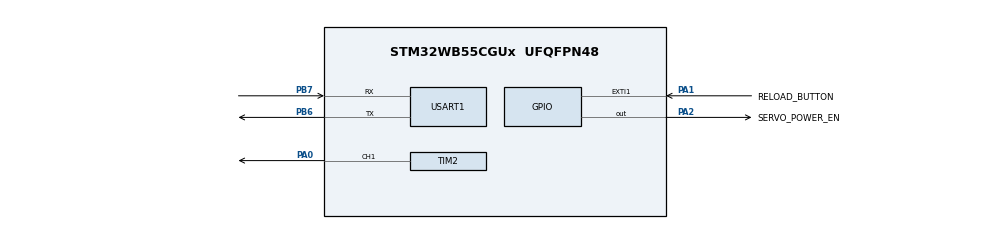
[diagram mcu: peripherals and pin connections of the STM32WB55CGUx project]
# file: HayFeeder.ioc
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Mcu.Family=STM32WB
Mcu.Name=STM32WB55CGUx
Mcu.Package=UFQFPN48
NVIC.EXTI1_IRQn=true\:1\:0\:false\:false\:true\:true\:true\:true
NVIC.PriorityGroup=NVIC_PRIORITYGROUP_4
NVIC.RTC_Alarm_IRQn=true\:0\:0\:false\:false\:true\:true\:true\:true
PA0.GPIO_PuPd=GPIO_NOPULL
PA0.Signal=S_TIM2_CH1
PA1.GPIO_Label=RELOAD_BUTTON
PA1.GPIO_ModeDefaultEXTI=GPIO_MODE_IT_RISING_FALLING
PA1.GPIO_PuPd=GPIO_PULLUP
PA1.Signal=GPXTI1
PA13.Mode=Serial_Wire
PA13.Signal=SYS_JTMS-SWDIO
PA14.Mode=Serial_Wire
PA14.Signal=SYS_JTCK-SWCLK
PA2.GPIO_Label=SERVO_POWER_EN
PA2.GPIO_PuPd=GPIO_NOPULL
PA2.Signal=GPIO_Output
PB6.Mode=Asynchronous
PB6.Signal=USART1_TX
PB7.Mode=Asynchronous
PB7.Signal=USART1_RX
PC14-OSC32_IN.Mode=LSE-External-Oscillator
PC14-OSC32_IN.Signal=RCC_OSC32_IN
PC15-OSC32_OUT.Mode=LSE-External-Oscillator
PC15-OSC32_OUT.Signal=RCC_OSC32_OUT
ProjectManager.HeapSize=0x200
ProjectManager.StackSize=0x400
ProjectManager.TargetToolchain=STM32CubeIDE
RCC.ADCFreq_Value=32000000
RCC.AHB2CLKDivider=RCC_SYSCLK_DIV4
RCC.AHBFreq_Value=16000000
RCC.APB1Freq_Value=16000000
RCC.APB1TimFreq_Value=16000000
RCC.APB2Freq_Value=16000000
RCC.APB2TimFreq_Value=16000000
RCC.APB3Freq_Value=16000000
RCC.Cortex2_Div=SYSTICK_CLKSOURCE_HCLK_DIV8
RCC.CortexFreq_Value=16000000
RCC.HCLKFreq_Value=16000000
RCC.HSE_VALUE=32000000
RCC.HSI48_VALUE=48000000
RCC.HSI_VALUE=16000000
RCC.LSE_Drive_Capability=RCC_LSEDRIVE_LOW
RCC.PLLM=RCC_PLLM_DIV2
RCC.PLLSourceVirtual=RCC_PLLSOURCE_HSI
RCC.RTCClockSelection=RCC_RTCCLKSOURCE_LSE
RCC.SYSCLKFreq_VALUE=16000000
RCC.SYSCLKSource=RCC_SYSCLKSOURCE_HSI
RCC.USBFreq_Value=32000000
RCC.VCOOutputFreq_Value=64000000
RTC.Alarm=RTC_ALARM_A
RTC.Alarm-Alarm\ A=RTC_ALARM_A
RTC.AlarmDateWeekDay=RTC_WEEKDAY_MONDAY
RTC.AlarmDateWeekDay-Alarm\ A=RTC_WEEKDAY_MONDAY
RTC.AlarmDateWeekDaySel=RTC_ALARMDATEWEEKDAYSEL_WEEKDAY
RTC.AlarmDateWeekDaySel-Alarm\ A=RTC_ALARMDATEWEEKDAYSEL_WEEKDAY
RTC.AlarmSubSecondMask=RTC_ALARMSUBSECONDMASK_ALL
RTC.AlarmSubSecondMask-Alarm\ A=RTC_ALARMSUBSECONDMASK_ALL
RTC.AsynchPrediv=127
RTC.Date=1
RTC.DayLightSaving=RTC_DAYLIGHTSAVING_NONE
RTC.Format=RTC_FORMAT_BIN
RTC.HourFormat=RTC_HOURFORMAT_24
RTC.Hours=12
RTC.Hours_A=14
RTC.Hours_A-Alarm\ A=14
RTC.Minutes=0
RTC.Minutes_A=0
RTC.Minutes_A-Alarm\ A=0
RTC.Month=RTC_MONTH_JANUARY
RTC.Seconds=0
RTC.Seconds_A=0
RTC.Seconds_A-Alarm\ A=0
RTC.StoreOperation=RTC_STOREOPERATION_RESET
RTC.SubSeconds_A=0
RTC.SubSeconds_A-Alarm\ A=0
RTC.SynchPrediv=255
RTC.WeekDay=RTC_WEEKDAY_MONDAY
RTC.Year=26
SH.S_TIM2_CH1.0=TIM2_CH1,PWM Generation1 CH1
TIM2.Channel-PWM\ Generation1\ CH1=TIM_CHANNEL_1
TIM2.Period=20000-1
TIM2.Prescaler=16-1
USART1.VirtualMode-Asynchronous=VM_ASYNC
VP_MEMORYMAP_VS_MEMORYMAP.Mode=CurAppReg
VP_RTC_VS_RTC_Activate.Mode=RTC_Enabled
VP_RTC_VS_RTC_Alarm_A_Intern.Mode=Alarm A
VP_RTC_VS_RTC_Calendar.Mode=RTC_Calendar
VP_TIM2_VS_ClockSourceINT.Mode=Internal
board=custom

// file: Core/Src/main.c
/* USER CODE BEGIN Header */
/**
  ******************************************************************************
  * @file           : main.c
  * @brief          : Hay feeder hatch controller
  ******************************************************************************
  */
/* USER CODE END Header */
#include "main.h"

/* USER CODE BEGIN Includes */
#include "app_entry.h"
#include "feeder_app.h"
#include <stdio.h>

/* USER CODE END Includes */

/* USER CODE BEGIN PD */
#define RTC_CLOCK_BACKUP_MARKER 0x434C4B31U
#define RTC_CLOCK_BACKUP_DR     RTC_BKP_DR3

/* USER CODE END PD */

RTC_HandleTypeDef hrtc;

IPCC_HandleTypeDef hipcc;

RNG_HandleTypeDef hrng;

TIM_HandleTypeDef htim2;

UART_HandleTypeDef huart1;

/* USER CODE BEGIN PV */
static uint8_t feeder_hse_ready;
/* USER CODE END PV */

void SystemClock_Config(void);
void PeriphCommonClock_Config(void);
static void MX_GPIO_Init(void);
static void MX_IPCC_Init(void);
static void MX_RF_Init(void);
static void MX_RNG_Init(void);
static void MX_TIM2_Init(void);
static void MX_RTC_Init(void);
static void MX_USART1_UART_Init(void);

/* USER CODE BEGIN 0 */
int __io_putchar(int ch)
{
  uint8_t data = (uint8_t)ch;
  HAL_UART_Transmit(&huart1, &data, 1, HAL_MAX_DELAY);
  return ch;
}
/* USER CODE END 0 */

int main(void)
{

  /* MCU Configuration--------------------------------------------------------*/

  /* Reset of all peripherals, Initializes the Flash interface and the Systick. */
  HAL_Init();
  MX_APPE_Config();

  /* USER CODE BEGIN Init */
  (void)HAL_HSEM_FastTake(5);

  /* USER CODE END Init */

  /* Configure the system clock */
  SystemClock_Config();

  /* Configure the peripherals common clocks */
  PeriphCommonClock_Config();
  MX_IPCC_Init();

  /* Initialize all configured peripherals */
  MX_GPIO_Init();
  MX_TIM2_Init();
  MX_RTC_Init();
  MX_USART1_UART_Init();
  MX_RNG_Init();
  MX_RF_Init();
  /* USER CODE BEGIN 2 */
  FeederApp_Init(feeder_hse_ready);

  /* USER CODE END 2 */

  /* Infinite loop */
  while (1)
  {

    /* USER CODE BEGIN 3 */
    FeederApp_Process();
  }
  /* USER CODE END 3 */
}

void SystemClock_Config(void)
{
  RCC_OscInitTypeDef RCC_OscInitStruct = {0};
  RCC_ClkInitTypeDef RCC_ClkInitStruct = {0};
  HAL_StatusTypeDef hse_status;

  /** Configure LSE Drive Capability
  */
  HAL_PWR_EnableBkUpAccess();
  __HAL_RCC_LSEDRIVE_CONFIG(RCC_LSEDRIVE_MEDIUMHIGH);

  /** Configure the main internal regulator output voltage
  */
  __HAL_PWR_VOLTAGESCALING_CONFIG(PWR_REGULATOR_VOLTAGE_SCALE1);

  /** Initializes the RCC Oscillators according to the specified parameters
  * in the RCC_OscInitTypeDef structure.
  */
  RCC_OscInitStruct.OscillatorType = RCC_OSCILLATORTYPE_HSI48|RCC_OSCILLATORTYPE_HSI
                              |RCC_OSCILLATORTYPE_HSE|RCC_OSCILLATORTYPE_LSE;
  RCC_OscInitStruct.HSEState = RCC_HSE_ON;
  RCC_OscInitStruct.LSEState = RCC_LSE_ON;
  RCC_OscInitStruct.HSIState = RCC_HSI_ON;
  RCC_OscInitStruct.HSI48State = RCC_HSI48_ON;
  RCC_OscInitStruct.HSICalibrationValue = RCC_HSICALIBRATION_DEFAULT;
  RCC_OscInitStruct.PLL.PLLState = RCC_PLL_ON;
  RCC_OscInitStruct.PLL.PLLSource = RCC_PLLSOURCE_HSE;
  RCC_OscInitStruct.PLL.PLLM = RCC_PLLM_DIV2;
  RCC_OscInitStruct.PLL.PLLN = 8;
  RCC_OscInitStruct.PLL.PLLP = RCC_PLLP_DIV2;
  RCC_OscInitStruct.PLL.PLLR = RCC_PLLR_DIV2;
  RCC_OscInitStruct.PLL.PLLQ = RCC_PLLQ_DIV2;
  hse_status = HAL_RCC_OscConfig(&RCC_OscInitStruct);
  feeder_hse_ready = (hse_status == HAL_OK) ? 1U : 0U;
  if (hse_status != HAL_OK)
  {
    RCC_OscInitStruct.OscillatorType = RCC_OSCILLATORTYPE_HSI48|RCC_OSCILLATORTYPE_HSI
                                |RCC_OSCILLATORTYPE_LSE;
    RCC_OscInitStruct.HSEState = RCC_HSE_OFF;
    RCC_OscInitStruct.LSEState = RCC_LSE_ON;
    RCC_OscInitStruct.HSIState = RCC_HSI_ON;
    RCC_OscInitStruct.HSI48State = RCC_HSI48_ON;
    RCC_OscInitStruct.HSICalibrationValue = RCC_HSICALIBRATION_DEFAULT;
    RCC_OscInitStruct.PLL.PLLState = RCC_PLL_NONE;
    if (HAL_RCC_OscConfig(&RCC_OscInitStruct) != HAL_OK)
    {
      Error_Handler();
    }
  }

  /** Configure the SYSCLKSource, HCLK, PCLK1 and PCLK2 clocks dividers
  */
  RCC_ClkInitStruct.ClockType = RCC_CLOCKTYPE_HCLK4|RCC_CLOCKTYPE_HCLK2
                              |RCC_CLOCKTYPE_HCLK|RCC_CLOCKTYPE_SYSCLK
                              |RCC_CLOCKTYPE_PCLK1|RCC_CLOCKTYPE_PCLK2;
  RCC_ClkInitStruct.SYSCLKSource = (feeder_hse_ready != 0U) ? RCC_SYSCLKSOURCE_PLLCLK : RCC_SYSCLKSOURCE_HSI;
  RCC_ClkInitStruct.AHBCLKDivider = RCC_SYSCLK_DIV1;
  RCC_ClkInitStruct.APB1CLKDivider = RCC_HCLK_DIV1;
  RCC_ClkInitStruct.APB2CLKDivider = RCC_HCLK_DIV1;
  RCC_ClkInitStruct.AHBCLK2Divider = (feeder_hse_ready != 0U) ? RCC_SYSCLK_DIV2 : RCC_SYSCLK_DIV1;
  RCC_ClkInitStruct.AHBCLK4Divider = RCC_SYSCLK_DIV1;

  if (HAL_RCC_ClockConfig(&RCC_ClkInitStruct, (feeder_hse_ready != 0U) ? FLASH_LATENCY_3 : FLASH_LATENCY_0) != HAL_OK)
  {
    Error_Handler();
  }
}

void PeriphCommonClock_Config(void)
{
  RCC_PeriphCLKInitTypeDef PeriphClkInitStruct = {0};

  /** Initializes the peripherals clock
  */
  PeriphClkInitStruct.PeriphClockSelection = RCC_PERIPHCLK_SMPS|RCC_PERIPHCLK_RFWAKEUP;
  PeriphClkInitStruct.RFWakeUpClockSelection = RCC_RFWKPCLKSOURCE_LSE;
  PeriphClkInitStruct.SmpsClockSelection = (feeder_hse_ready != 0U) ? RCC_SMPSCLKSOURCE_HSE : RCC_SMPSCLKSOURCE_HSI;
  PeriphClkInitStruct.SmpsDivSelection = (feeder_hse_ready != 0U) ? RCC_SMPSCLKDIV_RANGE0 : RCC_SMPSCLKDIV_RANGE1;

  if (HAL_RCCEx_PeriphCLKConfig(&PeriphClkInitStruct) != HAL_OK)
  {
    Error_Handler();
  }
}

static void MX_IPCC_Init(void)
{
  hipcc.Instance = IPCC;
  if (HAL_IPCC_Init(&hipcc) != HAL_OK)
  {
    Error_Handler();
  }
}

static void MX_RF_Init(void)
{
}

static void MX_RNG_Init(void)
{
  hrng.Instance = RNG;
  hrng.Init.ClockErrorDetection = RNG_CED_ENABLE;
  if (HAL_RNG_Init(&hrng) != HAL_OK)
  {
    Error_Handler();
  }
}

static void MX_RTC_Init(void)
{

  RTC_TimeTypeDef sTime = {0};
  RTC_DateTypeDef sDate = {0};
  RTC_AlarmTypeDef sAlarm = {0};
  uint32_t rtc_has_time = 0U;

  /** Initialize RTC Only
  */
  hrtc.Instance = RTC;
  hrtc.Init.HourFormat = RTC_HOURFORMAT_24;
  hrtc.Init.AsynchPrediv = 127;
  hrtc.Init.SynchPrediv = 255;
  hrtc.Init.OutPut = RTC_OUTPUT_DISABLE;
  hrtc.Init.OutPutPolarity = RTC_OUTPUT_POLARITY_HIGH;
  hrtc.Init.OutPutType = RTC_OUTPUT_TYPE_OPENDRAIN;
  hrtc.Init.OutPutRemap = RTC_OUTPUT_REMAP_NONE;
  if (HAL_RTC_Init(&hrtc) != HAL_OK)
  {
    Error_Handler();
  }

  /* USER CODE BEGIN Check_RTC_BKUP */
  HAL_PWR_EnableBkUpAccess();
  rtc_has_time = (HAL_RTCEx_BKUPRead(&hrtc, RTC_CLOCK_BACKUP_DR) == RTC_CLOCK_BACKUP_MARKER);

  /* USER CODE END Check_RTC_BKUP */

  /** Initialize RTC and set the Time and Date
  */
  if (rtc_has_time == 0U)
  {
    sTime.Hours = 12;
    sTime.Minutes = 0;
    sTime.Seconds = 0;
    sTime.SubSeconds = 0x0;
    sTime.DayLightSaving = RTC_DAYLIGHTSAVING_NONE;
    sTime.StoreOperation = RTC_STOREOPERATION_RESET;
    if (HAL_RTC_SetTime(&hrtc, &sTime, RTC_FORMAT_BIN) != HAL_OK)
    {
      Error_Handler();
    }
    sDate.WeekDay = RTC_WEEKDAY_MONDAY;
    sDate.Month = RTC_MONTH_JANUARY;
    sDate.Date = 1;
    sDate.Year = 26;
    if (HAL_RTC_SetDate(&hrtc, &sDate, RTC_FORMAT_BIN) != HAL_OK)
    {
      Error_Handler();
    }
    HAL_RTCEx_BKUPWrite(&hrtc, RTC_CLOCK_BACKUP_DR, RTC_CLOCK_BACKUP_MARKER);
  }

  /** Enable the Alarm A
  */
  sAlarm.AlarmTime.Hours = 14;
  sAlarm.AlarmTime.Minutes = 0;
  sAlarm.AlarmTime.Seconds = 0;
  sAlarm.AlarmTime.SubSeconds = 0;
  sAlarm.AlarmTime.DayLightSaving = RTC_DAYLIGHTSAVING_NONE;
  sAlarm.AlarmTime.StoreOperation = RTC_STOREOPERATION_RESET;
  sAlarm.AlarmMask = RTC_ALARMMASK_NONE;
  sAlarm.AlarmSubSecondMask = RTC_ALARMSUBSECONDMASK_ALL;
  sAlarm.AlarmDateWeekDaySel = RTC_ALARMDATEWEEKDAYSEL_WEEKDAY;
  sAlarm.AlarmDateWeekDay = RTC_WEEKDAY_MONDAY;
  sAlarm.Alarm = RTC_ALARM_A;
  if (HAL_RTC_SetAlarm_IT(&hrtc, &sAlarm, RTC_FORMAT_BIN) != HAL_OK)
  {
    Error_Handler();
  }

}

static void MX_TIM2_Init(void)
{

  TIM_ClockConfigTypeDef sClockSourceConfig = {0};
  TIM_MasterConfigTypeDef sMasterConfig = {0};
  TIM_OC_InitTypeDef sConfigOC = {0};

  htim2.Instance = TIM2;
  htim2.Init.Prescaler = (HAL_RCC_GetPCLK1Freq() / 1000000U) - 1U;
  htim2.Init.CounterMode = TIM_COUNTERMODE_UP;
  htim2.Init.Period = 20000-1;
  htim2.Init.ClockDivision = TIM_CLOCKDIVISION_DIV1;
  htim2.Init.AutoReloadPreload = TIM_AUTORELOAD_PRELOAD_DISABLE;
  if (HAL_TIM_Base_Init(&htim2) != HAL_OK)
  {
    Error_Handler();
  }
  sClockSourceConfig.ClockSource = TIM_CLOCKSOURCE_INTERNAL;
  if (HAL_TIM_ConfigClockSource(&htim2, &sClockSourceConfig) != HAL_OK)
  {
    Error_Handler();
  }
  if (HAL_TIM_PWM_Init(&htim2) != HAL_OK)
  {
    Error_Handler();
  }
  sMasterConfig.MasterOutputTrigger = TIM_TRGO_RESET;
  sMasterConfig.MasterSlaveMode = TIM_MASTERSLAVEMODE_DISABLE;
  if (HAL_TIMEx_MasterConfigSynchronization(&htim2, &sMasterConfig) != HAL_OK)
  {
    Error_Handler();
  }
  sConfigOC.OCMode = TIM_OCMODE_PWM1;
  sConfigOC.Pulse = 0;
  sConfigOC.OCPolarity = TIM_OCPOLARITY_HIGH;
  sConfigOC.OCFastMode = TIM_OCFAST_DISABLE;
  if (HAL_TIM_PWM_ConfigChannel(&htim2, &sConfigOC, TIM_CHANNEL_1) != HAL_OK)
  {
    Error_Handler();
  }
  HAL_TIM_MspPostInit(&htim2);

}

static void MX_USART1_UART_Init(void)
{

  huart1.Instance = USART1;
  huart1.Init.BaudRate = 115200;
  huart1.Init.WordLength = UART_WORDLENGTH_8B;
  huart1.Init.StopBits = UART_STOPBITS_1;
  huart1.Init.Parity = UART_PARITY_NONE;
  huart1.Init.Mode = UART_MODE_TX_RX;
  huart1.Init.HwFlowCtl = UART_HWCONTROL_NONE;
  huart1.Init.OverSampling = UART_OVERSAMPLING_16;
  huart1.Init.OneBitSampling = UART_ONE_BIT_SAMPLE_DISABLE;
  huart1.Init.ClockPrescaler = UART_PRESCALER_DIV1;
  huart1.AdvancedInit.AdvFeatureInit = UART_ADVFEATURE_NO_INIT;
  if (HAL_UART_Init(&huart1) != HAL_OK)
  {
    Error_Handler();
  }
  if (HAL_UARTEx_SetTxFifoThreshold(&huart1, UART_TXFIFO_THRESHOLD_1_8) != HAL_OK)
  {
    Error_Handler();
  }
  if (HAL_UARTEx_SetRxFifoThreshold(&huart1, UART_RXFIFO_THRESHOLD_1_8) != HAL_OK)
  {
    Error_Handler();
  }
  if (HAL_UARTEx_DisableFifoMode(&huart1) != HAL_OK)
  {
    Error_Handler();
  }

}

static void MX_GPIO_Init(void)
{
  GPIO_InitTypeDef GPIO_InitStruct = {0};

  /* GPIO Ports Clock Enable */
  __HAL_RCC_GPIOC_CLK_ENABLE();
  __HAL_RCC_GPIOA_CLK_ENABLE();
  __HAL_RCC_GPIOB_CLK_ENABLE();

  /*Configure GPIO pin Output Level */
  HAL_GPIO_WritePin(SERVO_POWER_EN_GPIO_Port, SERVO_POWER_EN_Pin, GPIO_PIN_RESET);

  /*Configure GPIO pin : RELOAD_BUTTON_Pin */
  GPIO_InitStruct.Pin = RELOAD_BUTTON_Pin;
  GPIO_InitStruct.Mode = GPIO_MODE_IT_RISING_FALLING;
  GPIO_InitStruct.Pull = GPIO_PULLUP;
  HAL_GPIO_Init(RELOAD_BUTTON_GPIO_Port, &GPIO_InitStruct);

  /*Configure GPIO pin : SERVO_POWER_EN_Pin */
  GPIO_InitStruct.Pin = SERVO_POWER_EN_Pin;
  GPIO_InitStruct.Mode = GPIO_MODE_OUTPUT_PP;
  GPIO_InitStruct.Pull = GPIO_NOPULL;
  GPIO_InitStruct.Speed = GPIO_SPEED_FREQ_LOW;
  HAL_GPIO_Init(SERVO_POWER_EN_GPIO_Port, &GPIO_InitStruct);

  /* EXTI interrupt init*/
  HAL_NVIC_SetPriority(EXTI1_IRQn, 1, 0);
  HAL_NVIC_EnableIRQ(EXTI1_IRQn);

}

/* USER CODE BEGIN 4 */
void HAL_RTC_AlarmAEventCallback(RTC_HandleTypeDef *rtc)
{
  FeederApp_OnFeedAlarm(rtc);
}

void HAL_GPIO_EXTI_Callback(uint16_t GPIO_Pin)
{
  FeederApp_OnReloadSwitchInterrupt(GPIO_Pin);
}
/* USER CODE END 4 */

void Error_Handler(void)
{
  __disable_irq();
  while (1)
  {
  }
}
